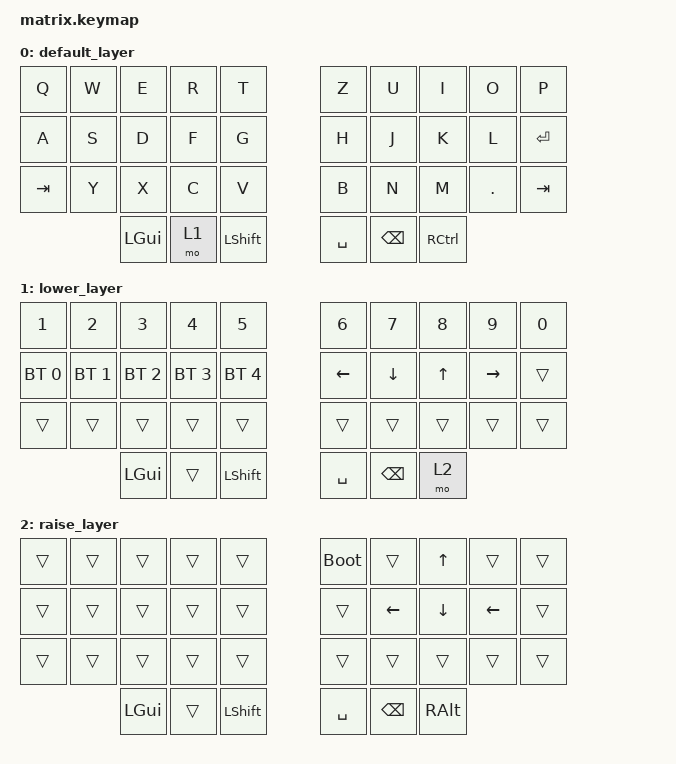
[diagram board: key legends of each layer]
/*
 * Copyright (c) 2020 The ZMK Contributors
 *
 * SPDX-License-Identifier: MIT
 */

#include <behaviors.dtsi>
#include <dt-bindings/zmk/keys.h>
#include <dt-bindings/zmk/bt.h>

#define default_layer 0
#define lower_layer   1
#define raise_layer   2

/ {
        combos {
                compatible = "zmk,combos";
                combo_l2 {
                        timeout-ms = <1000>;
                        key-positions = <0 16 17>;
                        bindings = <&kp ENTER>;
                };
        };

        keymap {
                compatible = "zmk,keymap";

                default_layer {
                        bindings = <
&kp Q           &kp W           &kp E           &kp R           &kp T                   &kp Z           &kp U           &kp I           &kp O           &kp P
&kp A           &kp S           &kp D           &kp F           &kp G                   &kp H           &kp J           &kp K           &kp L           &kp ENTER
&kp TAB         &kp Y           &kp X           &kp C           &kp V                   &kp B           &kp N           &kp M           &kp DOT         &kp TAB
                                &kp LGUI        &mo 1           &kp LEFT_SHIFT          &kp SPACE       &kp BACKSPACE   &kp RIGHT_CONTROL
                        >;
                };
                lower_layer {
                        bindings = <
&kp N1          &kp N2          &kp N3          &kp N4          &kp N5                  &kp N6          &kp N7          &kp N8          &kp N9          &kp N0
&bt BT_SEL 0    &bt BT_SEL 1    &bt BT_SEL 2    &bt BT_SEL 3    &bt BT_SEL 4            &kp LEFT        &kp DOWN        &kp UP          &kp RIGHT       &trans
&trans          &trans          &trans          &trans          &trans                  &trans          &trans          &trans          &trans          &trans
                                &kp LGUI        &trans          &kp LEFT_SHIFT          &kp SPACE       &kp BACKSPACE   &mo 2
                        >;
                };

                raise_layer {
                        bindings = <
&trans          &trans          &trans          &trans          &trans                  &bootloader     &trans          &kp UP_ARROW    &trans          &trans
&trans          &trans          &trans          &trans          &trans                  &trans          &kp LEFT_ARROW  &kp DOWN_ARROW  &kp LEFT_ARROW  &trans
&trans          &trans          &trans          &trans          &trans                  &trans          &trans          &trans          &trans          &trans
                                &kp LGUI        &trans          &kp LEFT_SHIFT          &kp SPACE       &kp BACKSPACE   &kp RALT
                        >;
                };
        };
};
